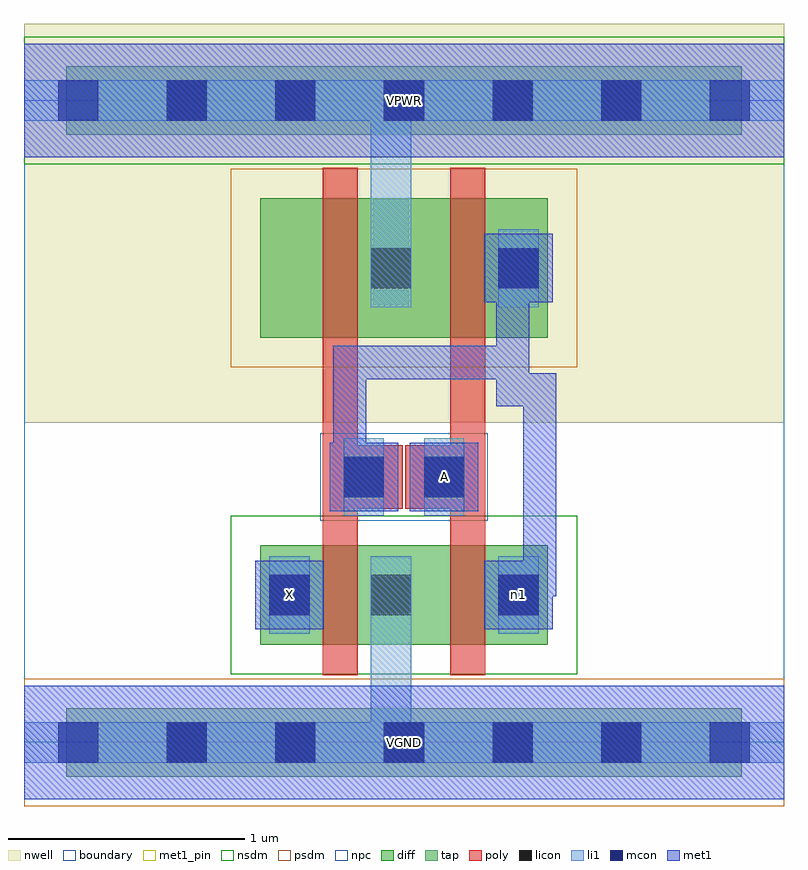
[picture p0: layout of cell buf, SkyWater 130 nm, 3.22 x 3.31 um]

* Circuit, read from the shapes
.subckt buf A VGND VPWR X n1
XM1 VGND n1 X VGND sky130_fd_pr__nfet_01v8 w=0.42 l=0.15
XM2 n1 A VGND VGND sky130_fd_pr__nfet_01v8 w=0.42 l=0.15
XM3 VPWR n1 n2 VPWR sky130_fd_pr__pfet_01v8 w=0.59 l=0.15
XM4 n1 A VPWR VPWR sky130_fd_pr__pfet_01v8 w=0.59 l=0.15
.ends

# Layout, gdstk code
import gdstk
lib = gdstk.Library(unit=1e-6, precision=1e-09)
def R(c, l, rs):  # rectangles x0, y0, x1, y1
    for r in rs: c.add(gdstk.rectangle(r[:2], r[2:], *l))
def A(c, l, x, y, w, h, nx, ny, dx, dy):  # array of equal rectangles
    R(c, l, [(x+i*dx, y+j*dy, x+i*dx+w, y+j*dy+h) for i in range(nx) for j in range(ny)])
nwell = (64, 20)
diff = (65, 20)
tap = (65, 44)
poly = (66, 20)
licon = (66, 44)
li1 = (67, 20)
mcon = (67, 44)
met1_pin = (68, 16)
met1 = (68, 20)
nsdm = (93, 44)
psdm = (94, 20)
npc = (95, 20)
boundary = (235, 4)

buf = lib.new_cell('buf')
R(buf, nwell, [(0,1.355,3.22,3.045)])
R(buf, diff, [(1,0.415,2.22,0.835), (1,1.715,2.22,2.305)])
R(buf, tap, [(0.18,-0.145,3.04,0.145), (0.18,2.575,3.04,2.865)])
R(buf, poly, [(1.265,0.285,1.415,2.435), (1.805,0.285,1.955,2.435), (1.275,0.99,1.605,1.26), (1.615,0.99,1.945,1.26)])
A(buf, licon, 0.605, -0.085, 0.17, 0.17, 5, 2, 0.46, 2.72)
R(buf, licon, [(1.04,0.54,1.21,0.71), (1.47,0.54,1.64,0.71), (2.01,0.54,2.18,0.71), (1.355,1.04,1.525,1.21), (1.695,1.04,1.865,1.21), (1.47,1.925,1.64,2.095), (2.01,1.925,2.18,2.095)])
R(buf, li1, [(0,-0.085,3.22,0.085), (1.47,-0.085,1.64,0.79), (1.04,0.46,1.21,0.79), (1.47,0.46,1.64,0.79), (2.01,0.46,2.18,0.79), (1.355,0.96,1.525,1.29), (1.695,0.96,1.865,1.29), (1.47,1.845,1.64,2.175), (1.47,1.845,1.64,2.805), (2.01,1.845,2.18,2.175), (0,2.635,3.22,2.805)])
A(buf, mcon, 0.145, -0.085, 0.17, 0.17, 7, 2, 0.46, 2.72)
R(buf, mcon, [(1.04,0.54,1.21,0.71), (2.01,0.54,2.18,0.71), (1.355,1.04,1.525,1.21), (1.695,1.04,1.865,1.21), (2.01,1.925,2.18,2.095)])
R(buf, met1_pin, [(0,-0.24,3.22,0.24), (0.98,0.48,1.27,0.77), (1.635,0.98,1.925,1.27), (0,2.48,3.22,2.96)])
R(buf, met1, [(0,-0.24,3.22,0.24), (0.98,0.48,1.27,0.77), (1.95,0.48,2.24,0.77), (2,0.62,2.14,0.76), (2,0.62,2.255,0.76), (2.115,0.62,2.255,1.565), (1.295,0.98,1.585,1.27), (1.635,0.98,1.925,1.27), (1.31,1.08,1.45,1.22), (1.31,1.08,1.45,1.68), (2,1.425,2.14,1.68), (2,1.425,2.255,1.565), (1.31,1.54,2.14,1.68), (2,1.54,2.14,2.025), (1.95,1.865,2.24,2.155), (2,1.885,2.14,2.025), (0,2.48,3.22,2.96)])
R(buf, nsdm, [(0.875,0.29,2.345,0.96), (0,2.45,3.22,2.99)])
R(buf, psdm, [(0,-0.27,3.22,0.27), (0.875,1.59,2.345,2.43)])
R(buf, npc, [(1.255,0.94,1.965,1.31)])
R(buf, boundary, [(0,0,3.22,2.72)])
buf.add(gdstk.Label('n1', (2.095,0.625), layer=67, texttype=5))
buf.add(gdstk.Label('A', (1.78,1.125), layer=68, texttype=5))
buf.add(gdstk.Label('X', (1.125,0.625), layer=68, texttype=5))
buf.add(gdstk.Label('VPWR', (1.61,2.72), layer=68, texttype=5))
buf.add(gdstk.Label('VGND', (1.61,0), layer=68, texttype=5))
buf.add(gdstk.Label('A', (1.78,1.125), layer=68, texttype=16))
buf.add(gdstk.Label('X', (1.125,0.625), layer=68, texttype=16))
buf.add(gdstk.Label('VPWR', (1.61,2.72), layer=68, texttype=16))
buf.add(gdstk.Label('VGND', (1.61,0), layer=68, texttype=16))

lib.write_gds('buf.gds')
